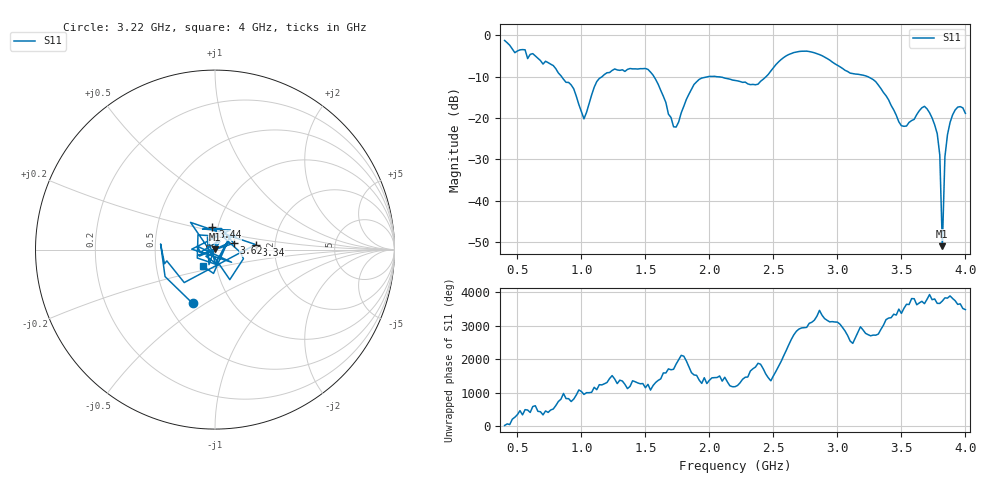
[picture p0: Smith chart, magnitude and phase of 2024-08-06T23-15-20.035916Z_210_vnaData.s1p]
!Created with skrf (http://scikit-rf.org).
# Hz S RI R 50.0
!freq ReS11 ImS11
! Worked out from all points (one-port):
!   181 points, 400 MHz to 4 GHz, reference 50 ohm
!   lowest |S11| = -51.0 dB at 3.82 GHz (marker M1), VSWR 1.01, Z = 49.8 + j0.214 ohm
!   |S11| at or under -10 dB: 1.568 GHz to 1.986 GHz (417.8 MHz wide, 23.5 % of centre); 2.066 GHz to 2.442 GHz (375.6 MHz wide, 16.7 % of centre); 3.24 GHz to end of sweep (the widest 3 of 4)
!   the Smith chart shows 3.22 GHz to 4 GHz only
!   S11 on the Smith chart (normalised r, x): 3.22 GHz: 0.66, -0.44; 3.34 GHz: 1.58, +0.09; 3.44 GHz: 0.94, +0.24; 3.62 GHz: 1.23, +0.09; 4 GHz: 0.86, -0.16
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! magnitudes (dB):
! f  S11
! 400 MHz  -1.2
! 860 MHz  -10.6
! 940 MHz  -12.9
! 1.02 GHz  -20.2
! 1.12 GHz  -11.2
! 1.3 GHz  -8.4
! 1.52 GHz  -8.2
! 1.72 GHz  -22.1
! 1.76 GHz  -20.9
! 1.92 GHz  -10.6
! 2.2 GHz  -10.9
! 2.38 GHz  -11.8
! 2.66 GHz  -4.1
! 3.1 GHz  -9.1
! 3.22 GHz  -9.8
! 3.34 GHz  -12.8
! 3.44 GHz  -18.0
! 3.5 GHz  -21.8
! 3.56 GHz  -21.0
! 3.62 GHz  -19.1
! 3.68 GHz  -17.2
! 3.78 GHz  -23.8
! 3.8 GHz  -28.9
! 3.82 GHz  -51.0
! 3.84 GHz  -29.4
! 3.86 GHz  -24.0
! 3.92 GHz  -18.0
! 4 GHz  -18.9
